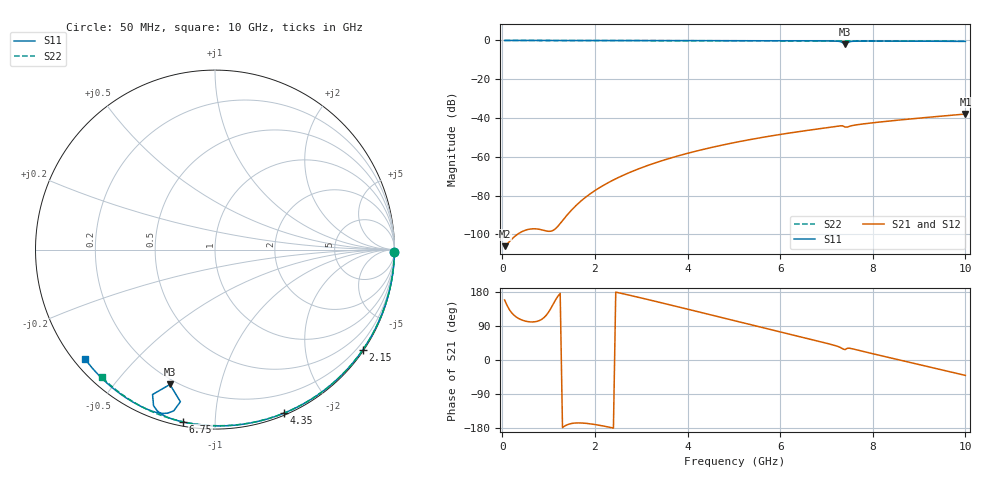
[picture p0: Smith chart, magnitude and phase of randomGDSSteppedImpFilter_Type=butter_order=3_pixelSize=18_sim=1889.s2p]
! freq	dB(S11)	phase(S11)	dB(S12)	phase(S12)
!  dB(S21)	phase(S21)	dB(S22)	phase(S22)
!S-par simulation data
#  GHz  S  DB  R 50
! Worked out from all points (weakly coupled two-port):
!   200 points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, 50 MHz to 10 GHz, reference 50 ohm
!   highest |S21| = -37.98 dB at 10 GHz (marker M1); lowest = -106.1 dB at 50 MHz (marker M2)
!   lowest |S11| = -2.0 dB at 7.4 GHz (marker M3), VSWR 8.62, Z = 8.74 - j35.3 ohm
!   |S11| at or under -10 dB: nowhere
!   |S22| runs from -0.4 to 0.0 dB; largest |S21 - S12| = 0
!   S11 on the Smith chart (normalised r, x): 50 MHz: open; 2.15 GHz: 0.03, -3.24; 4.35 GHz: 0.02, -1.50; 6.75 GHz: 0.02, -0.83; 10 GHz: 0.03, -0.37
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0.05  -0.00 -0.8  -106.14 158.5  -106.14 158.5  -0.00 -0.8
0.9  -0.02 -14.6  -98.00 111.8  -98.00 111.8  -0.02 -13.6
1.75  -0.04 -28.1  -81.83 -166.5  -81.83 -166.5  -0.03 -26.3
1.85  -0.04 -29.6  -79.97 -167.7  -79.97 -167.7  -0.04 -27.8
2.15  -0.04 -34.3  -75.22 -173.5  -75.22 -173.5  -0.04 -32.1
2.75  -0.06 -43.5  -68.11 170.9  -68.11 170.9  -0.05 -40.8
3.4  -0.07 -53.3  -62.40 152.0  -62.40 152.0  -0.07 -50.0
4.35  -0.10 -67.2  -56.14 123.7  -56.14 123.7  -0.09 -63.1
5.05  -0.12 -77.1  -52.51 102.7  -52.51 102.7  -0.11 -72.4
5.9  -0.15 -88.8  -48.88 77.2  -48.88 77.2  -0.14 -83.3
6.7  -0.20 -99.8  -46.04 53.3  -46.04 53.3  -0.18 -93.2
6.75  -0.20 -100.5  -45.87 51.8  -45.87 51.8  -0.18 -93.8
7.15  -0.28 -107.1  -44.57 39.4  -44.57 39.4  -0.21 -98.7
7.3  -0.59 -111.5  -44.07 33.1  -44.07 33.1  -0.21 -100.5
7.35  -1.12 -113.3  -44.07 29.5  -44.07 29.5  -0.22 -101.1
7.4  -2.02 -108.5  -44.66 27.4  -44.66 27.4  -0.22 -101.7
7.45  -1.22 -102.8  -44.70 31.0  -44.70 31.0  -0.22 -102.3
7.5  -0.65 -104.4  -44.26 31.1  -44.26 31.1  -0.23 -102.9
7.55  -0.46 -106.1  -43.95 29.9  -43.95 29.9  -0.23 -103.5
7.8  -0.30 -111.4  -43.04 22.4  -43.04 22.4  -0.25 -106.4
8.35  -0.32 -119.1  -41.59 6.5  -41.59 6.5  -0.29 -112.8
10  -0.48 -139.8  -37.98 -40.6  -37.98 -40.6  -0.45 -131.6
